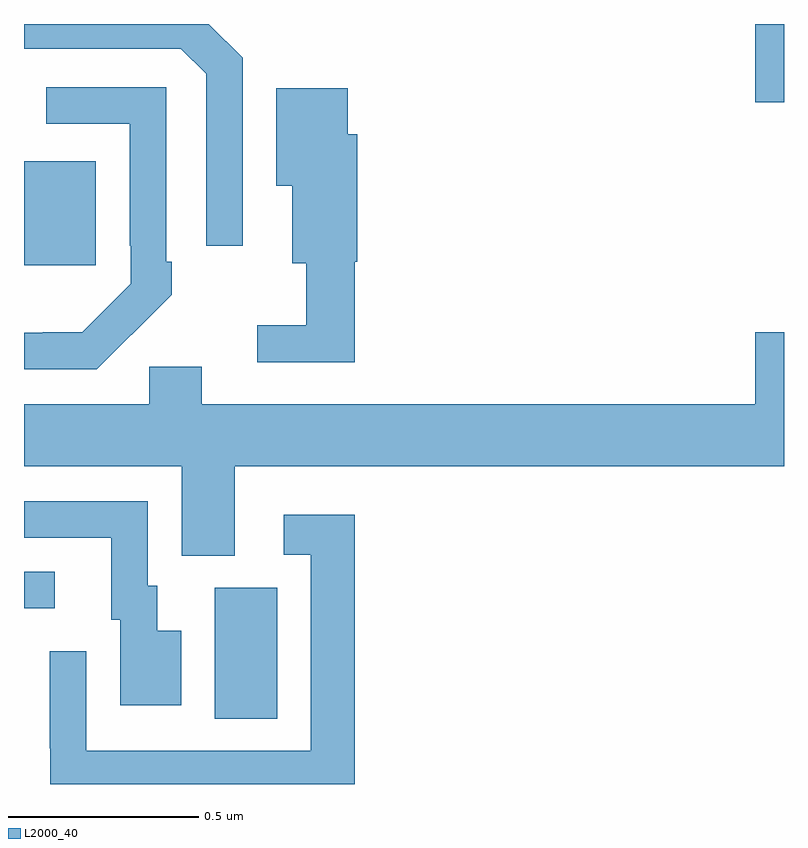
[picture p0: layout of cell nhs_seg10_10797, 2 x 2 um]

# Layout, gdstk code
import gdstk
lib = gdstk.Library(unit=1e-6, precision=1e-09)
def R(c, l, rs):  # rectangles x0, y0, x1, y1
    for r in rs: c.add(gdstk.rectangle(r[:2], r[2:], *l))
def P(c, l, *ps):  # polygons
    for p in ps: c.add(gdstk.Polygon(p, *l))
L2000_40 = (2000, 40)

nhs_seg10_10797 = lib.new_cell('nhs_seg10_10797')
R(nhs_seg10_10797, L2000_40, [(247.502,1279.672,247.666,1280.016), (247,1279.962,247.081,1280.058), (247.001,1280.865,247.189,1281.139), (248.924,1281.294,249,1281.5)])
P(nhs_seg10_10797, L2000_40, [(247.575,1281.411),(247.486,1281.5),(247,1281.5),(247,1281.435),(247.413,1281.435),(247.479,1281.369),(247.479,1280.916),(247.575,1280.916)],
  [(247.283,1280.683),(247.284,1280.682),(247.389,1280.787),(247.389,1280.875),(247.374,1280.875),(247.374,1281.333),(247.059,1281.333),(247.059,1281.237),(247.278,1281.237),(247.278,1280.917),(247.281,1280.917),(247.281,1280.817),(247.153,1280.689),(247.049,1280.689),(247.049,1280.688),(247,1280.688),(247,1280.592),(247.192,1280.592)],
  [(247.871,1280.874),(247.877,1280.874),(247.877,1281.21),(247.852,1281.21),(247.852,1281.331),(247.664,1281.331),(247.664,1281.074),(247.706,1281.074),(247.706,1280.87),(247.743,1280.87),(247.743,1280.707),(247.614,1280.707),(247.614,1280.61),(247.871,1280.61)],
  [(249,1280.689),(248.924,1280.689),(248.924,1280.5),(247.468,1280.5),(247.468,1280.598),(247.329,1280.598),(247.329,1280.5),(247,1280.5),(247,1280.336),(247.415,1280.336),(247.415,1280.101),(247.555,1280.101),(247.555,1280.336),(249,1280.336)],
  [(247.414,1279.903),(247.351,1279.903),(247.351,1280.022),(247.326,1280.022),(247.326,1280.244),(247,1280.244),(247,1280.148),(247.229,1280.148),(247.229,1279.932),(247.253,1279.932),(247.253,1279.707),(247.414,1279.707)],
  [(247.871,1280.209),(247.683,1280.209),(247.683,1280.103),(247.755,1280.103),(247.755,1279.587),(247.164,1279.587),(247.164,1279.849),(247.068,1279.849),(247.068,1279.594),(247.069,1279.594),(247.069,1279.5),(247.871,1279.5)])

lib.write_gds('nhs_seg10_10797.gds')
